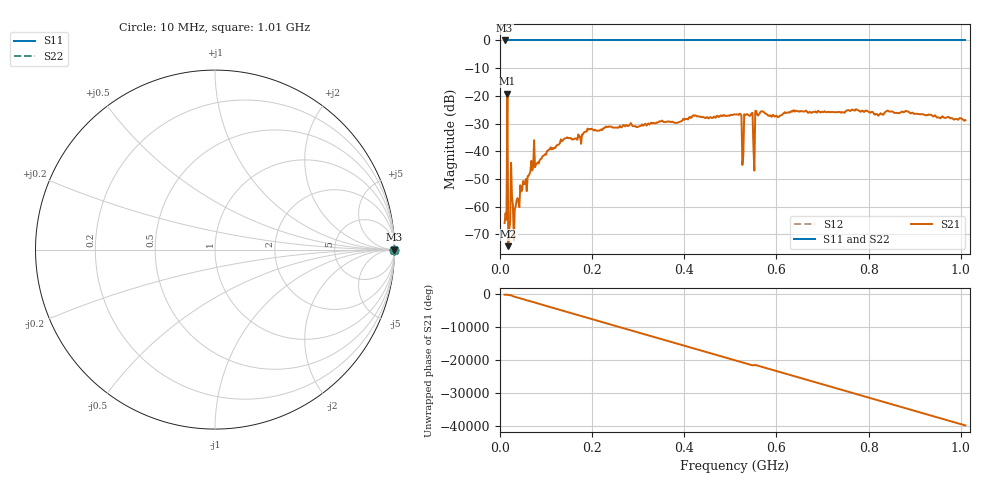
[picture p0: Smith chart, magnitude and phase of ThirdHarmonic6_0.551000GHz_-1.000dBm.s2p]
! 8/15/2025 5:27:31 PM
! C:\ANRITSUVNA\TEMP\TEMP.S2P
! CHANNEL.1
! TR.MEASUREMENT
! RAW.DATA
! RF.CORRECTION.OFF
! AVERAGING.OFF
! IF.BANDWIDTH: 5KHZ
! SWEEPTYPE:  FREQ.SWEEP(Linear)
! Reference Plane Port Info
! PORT:  PORT1  PORT2
! DISTANCE:  0  m  0  m
! TIME:  0  s  0  s
! PHASE.OFFSET:  0  deg.  0  deg.
! LOSS:  0  dB  0  dB
! REF.LOSS:  0  dB  0  dB
! REF.FREQ:  0  Hz  0  Hz
! Power Info
! POWER:  -20  dBm  -20  dBm
! EFF.POWER:  -20  dBm  -20  dBm
! SOURCE.ATTEN:  0  dB  0  dB
! TEST.ATTEN:  0  dB  0  dB
# GHZ S RI R 50.0
! FREQ.GHZ  S11RE  S11IM  S21RE  S21IM  S12RE  S12IM  S22RE  S22IM
!; PortSelection: Port_12
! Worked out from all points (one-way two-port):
!   501 points, 10 MHz to 1.01 GHz, reference 50 ohm
!   highest |S21| = -19.16 dB at 16 MHz (marker M1); lowest = -74.2 dB at 18 MHz (marker M2)
!   lowest |S11| = 0.0 dB at 10 MHz (marker M3)
!   |S11| at or under -10 dB: nowhere
!   |S22| runs from 0.0 to 0.0 dB; largest |S21 - S12| = 1.1
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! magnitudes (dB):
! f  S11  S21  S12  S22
! 10 MHz  0.0  -65.9  0.0  0.0
! 12 MHz  0.0  -62.3  0.0  0.0
! 16 MHz  0.0  -19.2  0.0  0.0
! 18 MHz  0.0  -74.2  0.0  0.0
! 20 MHz  0.0  -68.1  0.0  0.0
! 22 MHz  0.0  -65.6  0.0  0.0
! 34 MHz  0.0  -59.8  0.0  0.0
! 72 MHz  0.0  -45.6  0.0  0.0
! 178 MHz  0.0  -33.9  0.0  0.0
! 344 MHz  0.0  -29.4  0.0  0.0
! 510 MHz  0.0  -26.7  0.0  0.0
! 520 MHz  0.0  -26.4  0.0  0.0
! 524 MHz  0.0  -27.1  0.0  0.0
! 528 MHz  0.0  -41.6  0.0  0.0
! 534 MHz  0.0  -26.7  0.0  0.0
! 544 MHz  0.0  -26.9  0.0  0.0
! 548 MHz  0.0  -26.1  0.0  0.0
! 554 MHz  0.0  -25.4  0.0  0.0
! 558 MHz  0.0  -26.7  0.0  0.0
! 678 MHz  0.0  -25.8  0.0  0.0
! 844 MHz  0.0  -25.6  0.0  0.0
! 1.01 GHz  0.0  -28.8  0.0  0.0
